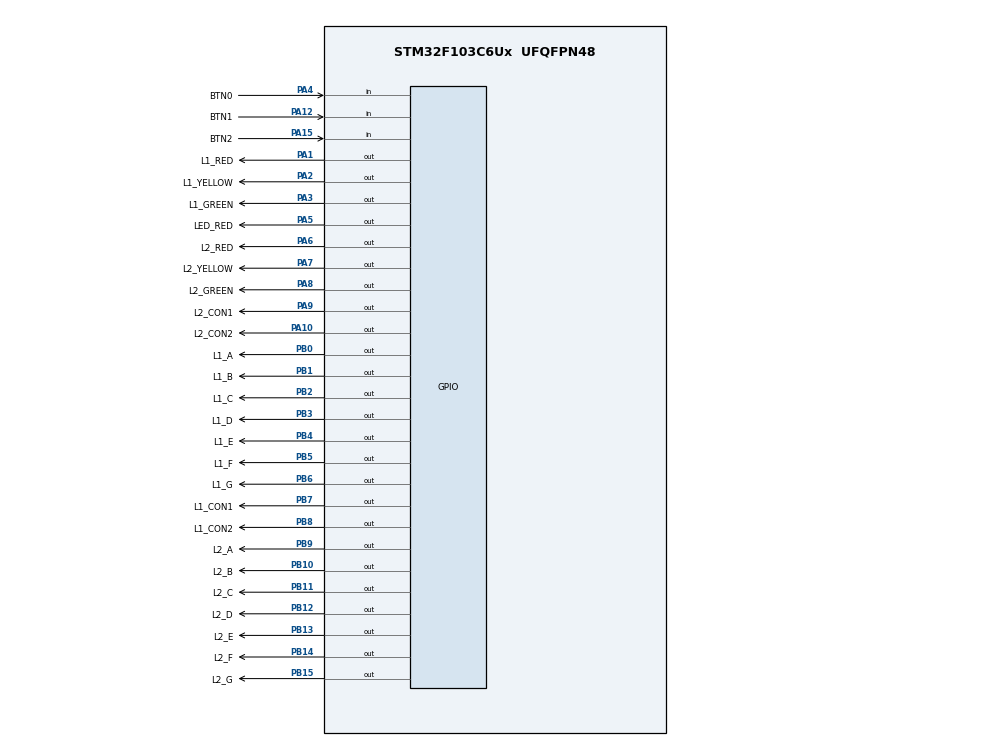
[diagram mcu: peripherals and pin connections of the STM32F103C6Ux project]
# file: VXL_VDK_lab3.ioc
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Mcu.Family=STM32F1
Mcu.Name=STM32F103C6Ux
Mcu.Package=UFQFPN48
NVIC.PriorityGroup=NVIC_PRIORITYGROUP_4
NVIC.TIM2_IRQn=true\:0\:0\:false\:false\:true\:true\:true\:true
PA1.GPIO_Label=L1_RED
PA1.Signal=GPIO_Output
PA10.GPIO_Label=L2_CON2
PA10.Signal=GPIO_Output
PA12.GPIO_Label=BTN1
PA12.Signal=GPIO_Input
PA13.Mode=Serial_Wire
PA13.Signal=SYS_JTMS-SWDIO
PA14.Mode=Serial_Wire
PA14.Signal=SYS_JTCK-SWCLK
PA15.GPIO_Label=BTN2
PA15.Signal=GPIO_Input
PA2.GPIO_Label=L1_YELLOW
PA2.Signal=GPIO_Output
PA3.GPIO_Label=L1_GREEN
PA3.Signal=GPIO_Output
PA4.GPIO_Label=BTN0
PA4.Signal=GPIO_Input
PA5.GPIO_Label=LED_RED
PA5.Signal=GPIO_Output
PA6.GPIO_Label=L2_RED
PA6.Signal=GPIO_Output
PA7.GPIO_Label=L2_YELLOW
PA7.Signal=GPIO_Output
PA8.GPIO_Label=L2_GREEN
PA8.Signal=GPIO_Output
PA9.GPIO_Label=L2_CON1
PA9.Signal=GPIO_Output
PB0.GPIO_Label=L1_A
PB0.Signal=GPIO_Output
PB1.GPIO_Label=L1_B
PB1.Signal=GPIO_Output
PB10.GPIO_Label=L2_B
PB10.Signal=GPIO_Output
PB11.GPIO_Label=L2_C
PB11.Signal=GPIO_Output
PB12.GPIO_Label=L2_D
PB12.Signal=GPIO_Output
PB13.GPIO_Label=L2_E
PB13.Signal=GPIO_Output
PB14.GPIO_Label=L2_F
PB14.Signal=GPIO_Output
PB15.GPIO_Label=L2_G
PB15.Signal=GPIO_Output
PB2.GPIO_Label=L1_C
PB2.Signal=GPIO_Output
PB3.GPIO_Label=L1_D
PB3.Signal=GPIO_Output
PB4.GPIO_Label=L1_E
PB4.Signal=GPIO_Output
PB5.GPIO_Label=L1_F
PB5.Signal=GPIO_Output
PB6.GPIO_Label=L1_G
PB6.Signal=GPIO_Output
PB7.GPIO_Label=L1_CON1
PB7.Signal=GPIO_Output
PB8.GPIO_Label=L1_CON2
PB8.Signal=GPIO_Output
PB9.GPIO_Label=L2_A
PB9.Signal=GPIO_Output
ProjectManager.HeapSize=0x200
ProjectManager.StackSize=0x400
ProjectManager.TargetToolchain=STM32CubeIDE
RCC.APB1Freq_Value=8000000
RCC.APB2Freq_Value=8000000
TIM2.Period=9
TIM2.Prescaler=799
VP_TIM2_VS_ClockSourceINT.Mode=Internal
board=custom

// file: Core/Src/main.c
/* USER CODE BEGIN Header */
/**
  ******************************************************************************
  * @file           : main.c
  * @brief          : Main program body
  ******************************************************************************
  * @attention
  *
  * Copyright (c) 2025 STMicroelectronics.
  * All rights reserved.
  *
  * This software is licensed under terms that can be found in the LICENSE file
  * in the root directory of this software component.
  * If no LICENSE file comes with this software, it is provided AS-IS.
  *
  ******************************************************************************
  */
/* USER CODE END Header */
#include "main.h"
#include "tim.h"
#include "gpio.h"

/* USER CODE BEGIN Includes */
#include "global.h"
#include "inout_driver.h"
/* USER CODE END Includes */

void SystemClock_Config(void);

int main(void)
{

  /* MCU Configuration--------------------------------------------------------*/

  /* Reset of all peripherals, Initializes the Flash interface and the Systick. */
  HAL_Init();

  /* Configure the system clock */
  SystemClock_Config();

  /* Initialize all configured peripherals */
  MX_GPIO_Init();
  MX_TIM2_Init();
  /* USER CODE BEGIN 2 */
  HAL_GPIO_WritePin(GPIOA, L1_RED_Pin| L1_YELLOW_Pin| L1_GREEN_Pin | L2_RED_Pin| L2_YELLOW_Pin| L2_GREEN_Pin, SET);
  fsm_state = FSM_INIT;
  set_timer(RED_LED_TIM, 1000);
  set_timer(FSM_TIM, FSM_period);
  set_timer(TRAFIC_LIGHT_TIM,130);
  set_timer(SEG7_1_TIM, 250);
  set_timer(SEG7_2_TIM, 250);
  set_timer(BUTTON_TIM, 10);
  set_timer(LONG_PRESS_BUT1_TIM, 11);
  set_timer(LONG_PRESS_BUT2_TIM, 12);
  set_timer(LONG_PRESS_BUT3_TIM, 13);
  HAL_TIM_Base_Start_IT(&htim2);

  /* USER CODE END 2 */

  /* Infinite loop */
  /* USER CODE BEGIN WHILE */
  while (1)
  {
	Check_timer();
	if(TimerExpired(RED_LED_TIM)){
		set_timer(RED_LED_TIM, 1000);

		HAL_GPIO_TogglePin(LED_RED_GPIO_Port, LED_RED_Pin);
		if((fsm_state == FSM_NORMAL || fsm_state == FSM_MANUAL_YR)&&(seg1_val>1)){
			--seg1_val;
		}
		if((fsm_state == FSM_NORMAL || fsm_state == FSM_MANUAL_RY)&&(seg2_val>1)){
			--seg2_val;
		}
	}
	if(TimerExpired(FSM_TIM)){
		main_fsm();
		set_timer(FSM_TIM, FSM_period);
	}
	if(TimerExpired(TRAFIC_LIGHT_TIM)){
		led_fsm();
	}
	if(TimerExpired(SEG7_1_TIM)){
		  set_timer(SEG7_1_TIM, 123);
		  display_seg1();
	}
	if(TimerExpired(SEG7_2_TIM)){
		  set_timer(SEG7_2_TIM, 123);
		  display_seg2();
	}
	if(TimerExpired(BUTTON_TIM)){
		set_timer(BUTTON_TIM, 10);
		button_reading();
	}
	if(TimerExpired(LONG_PRESS_BUT1_TIM)){
		long_pressed_buf[0] = is_button_pressed_500ms(0);
		if(long_pressed_buf[0]){
			  set_timer(LONG_PRESS_BUT1_TIM, 250);
		}
		else set_timer(LONG_PRESS_BUT1_TIM, 10);
	}
	if(TimerExpired(LONG_PRESS_BUT2_TIM)){
		long_pressed_buf[1] = is_button_pressed_500ms(1);
		if(long_pressed_buf[1]){
			  set_timer(LONG_PRESS_BUT2_TIM, 250);
		}
		else set_timer(LONG_PRESS_BUT2_TIM, 10);
	}
	if(TimerExpired(LONG_PRESS_BUT3_TIM)){
		long_pressed_buf[2] = is_button_pressed_500ms(2);
		if(long_pressed_buf[2]){
			  set_timer(LONG_PRESS_BUT3_TIM, 250);
		}
		else set_timer(LONG_PRESS_BUT3_TIM, 10);
	}
    /* USER CODE END WHILE */

  }
}

void SystemClock_Config(void)
{
  RCC_OscInitTypeDef RCC_OscInitStruct = {0};
  RCC_ClkInitTypeDef RCC_ClkInitStruct = {0};

  /** Initializes the RCC Oscillators according to the specified parameters
  * in the RCC_OscInitTypeDef structure.
  */
  RCC_OscInitStruct.OscillatorType = RCC_OSCILLATORTYPE_HSI;
  RCC_OscInitStruct.HSIState = RCC_HSI_ON;
  RCC_OscInitStruct.HSICalibrationValue = RCC_HSICALIBRATION_DEFAULT;
  RCC_OscInitStruct.PLL.PLLState = RCC_PLL_NONE;
  if (HAL_RCC_OscConfig(&RCC_OscInitStruct) != HAL_OK)
  {
    Error_Handler();
  }

  /** Initializes the CPU, AHB and APB buses clocks
  */
  RCC_ClkInitStruct.ClockType = RCC_CLOCKTYPE_HCLK|RCC_CLOCKTYPE_SYSCLK
                              |RCC_CLOCKTYPE_PCLK1|RCC_CLOCKTYPE_PCLK2;
  RCC_ClkInitStruct.SYSCLKSource = RCC_SYSCLKSOURCE_HSI;
  RCC_ClkInitStruct.AHBCLKDivider = RCC_SYSCLK_DIV1;
  RCC_ClkInitStruct.APB1CLKDivider = RCC_HCLK_DIV1;
  RCC_ClkInitStruct.APB2CLKDivider = RCC_HCLK_DIV1;

  if (HAL_RCC_ClockConfig(&RCC_ClkInitStruct, FLASH_LATENCY_0) != HAL_OK)
  {
    Error_Handler();
  }
}

void Error_Handler(void)
{
  __disable_irq();
  while (1)
  {
  }
}
